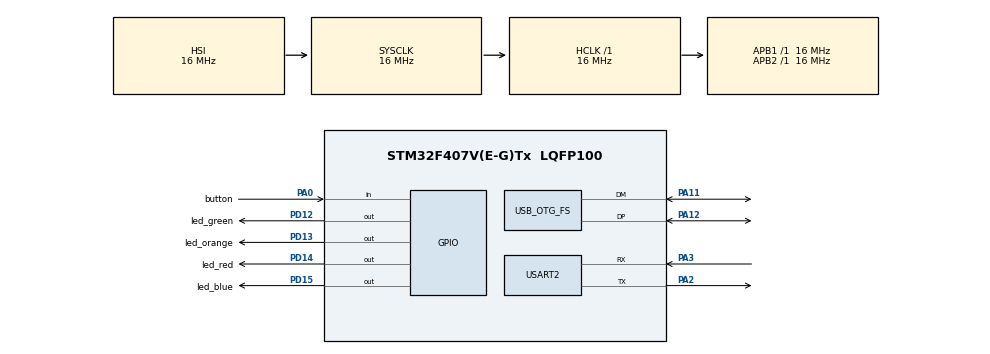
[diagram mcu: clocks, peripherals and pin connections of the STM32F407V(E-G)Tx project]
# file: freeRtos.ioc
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FREERTOS.INCLUDE_vTaskDelayUntil=1
FREERTOS.Tasks01=defaultTask,0,128,StartDefaultTask,Default,NULL,Dynamic,NULL,NULL;uart_handler,1,128,uartHandler,Default,NULL,Dynamic,NULL,NULL
FREERTOS.Timers01=uartTimer,uartTimerCallback,osTimerPeriodic,Default,NULL,Dynamic,NULL
FREERTOS.configUSE_COUNTING_SEMAPHORES=1
FREERTOS.configUSE_IDLE_HOOK=1
FREERTOS.configUSE_NEWLIB_REENTRANT=1
FREERTOS.configUSE_TIMERS=1
Mcu.Family=STM32F4
Mcu.Name=STM32F407V(E-G)Tx
Mcu.Package=LQFP100
NVIC.OTG_FS_IRQn=true\:5\:0\:false\:false\:true\:true\:false\:true
NVIC.PriorityGroup=NVIC_PRIORITYGROUP_4
NVIC.TIM1_UP_TIM10_IRQn=true\:15\:0\:false\:false\:true\:false\:false\:true
NVIC.TIM2_IRQn=true\:5\:0\:true\:false\:true\:true\:true\:true
NVIC.TimeBase=TIM1_UP_TIM10_IRQn
NVIC.TimeBaseIP=TIM1
NVIC.USART2_IRQn=true\:5\:0\:false\:false\:true\:true\:true\:true
PA0-WKUP.GPIO_Label=button
PA0-WKUP.GPIO_PuPd=GPIO_PULLDOWN
PA0-WKUP.Signal=GPIO_Input
PA11.Mode=Device_Only
PA11.Signal=USB_OTG_FS_DM
PA12.Mode=Device_Only
PA12.Signal=USB_OTG_FS_DP
PA13.Mode=Trace_Asynchronous_SW
PA13.Signal=SYS_JTMS-SWDIO
PA14.Mode=Trace_Asynchronous_SW
PA14.Signal=SYS_JTCK-SWCLK
PA2.Mode=Asynchronous
PA2.Signal=USART2_TX
PA3.Mode=Asynchronous
PA3.Signal=USART2_RX
PB3.Mode=Trace_Asynchronous_SW
PB3.Signal=SYS_JTDO-SWO
PD12.GPIO_Label=led_green
PD12.GPIO_PuPd=GPIO_PULLDOWN
PD12.Signal=GPIO_Output
PD13.GPIO_Label=led_orange
PD13.GPIO_PuPd=GPIO_PULLDOWN
PD13.Signal=GPIO_Output
PD14.GPIO_Label=led_red
PD14.GPIO_PuPd=GPIO_PULLDOWN
PD14.Signal=GPIO_Output
PD15.GPIO_Label=led_blue
PD15.GPIO_PuPd=GPIO_PULLDOWN
PD15.Signal=GPIO_Output
PH0-OSC_IN.Mode=HSE-External-Oscillator
PH0-OSC_IN.Signal=RCC_OSC_IN
PH1-OSC_OUT.Mode=HSE-External-Oscillator
PH1-OSC_OUT.Signal=RCC_OSC_OUT
ProjectManager.HeapSize=0x200
ProjectManager.StackSize=0x400
ProjectManager.TargetToolchain=STM32CubeIDE
RCC.48MHZClocksFreq_Value=48000000
RCC.AHBFreq_Value=16000000
RCC.APB1Freq_Value=16000000
RCC.APB1TimFreq_Value=16000000
RCC.APB2Freq_Value=16000000
RCC.CortexFreq_Value=16000000
RCC.HSE_VALUE=25000000
RCC.HSI_VALUE=16000000
RCC.LSE_VALUE=32768
RCC.PLLM=15
RCC.PLLN=144
RCC.PLLQ=5
RCC.SYSCLKFreq_VALUE=16000000
RCC.VCOOutputFreq_Value=240000000
TIM2.Period=4999
TIM2.Prescaler=159
USART2.VirtualMode=VM_ASYNC
USB_DEVICE.APP_RX_DATA_SIZE-CDC_FS=512
USB_DEVICE.APP_TX_DATA_SIZE-CDC_FS=512
USB_DEVICE.CLASS_NAME_FS=CDC
USB_DEVICE.MANUFACTURER_STRING-CDC_FS=T-devices
USB_DEVICE.VirtualMode-CDC_FS=Cdc
USB_DEVICE.VirtualModeFS=Cdc_FS
USB_OTG_FS.VirtualMode=Device_Only
VP_FREERTOS_VS_CMSIS_V1.Mode=CMSIS_V1
VP_SYS_VS_tim1.Mode=TIM1
VP_TIM2_VS_ClockSourceINT.Mode=Internal
VP_USB_DEVICE_VS_USB_DEVICE_CDC_FS.Mode=CDC_FS
board=custom

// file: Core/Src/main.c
/* USER CODE BEGIN Header */
/**
  ******************************************************************************
  * @file           : main.c
  * @brief          : Main program body
  ******************************************************************************
  * @attention
  *
  * Copyright (c) 2021 STMicroelectronics.
  * All rights reserved.
  *
  * This software is licensed under terms that can be found in the LICENSE file
  * in the root directory of this software component.
  * If no LICENSE file comes with this software, it is provided AS-IS.
  *
  ******************************************************************************
  */
/* USER CODE END Header */
#include "main.h"
#include "cmsis_os.h"
#include "tim.h"
#include "usart.h"
#include "usb_device.h"
#include "gpio.h"

/* USER CODE BEGIN Includes */
#include "led.h"
/* USER CODE END Includes */

/* USER CODE BEGIN PTD */
volatile char sim;
xUART_buf xInBuf;
uint8_t testUartBuf[15];
/* USER CODE END PTD */

/* USER CODE BEGIN PV */
led_parameters xLedRed;
led_parameters xLedGreen;
led_parameters xLedBlue;
led_parameters xLedOrange;
xSemaphoreHandle xCountingButtonSemaphore;
xSemaphoreHandle xCountingUARTReceiveMsgSemaphore;
xQueueHandle xQueueUARTMsg;
extern osTimerId uartTimerHandle;
/* USER CODE END PV */

void SystemClock_Config(void);
void MX_FREERTOS_Init(void);

int main(void)
{

  /* MCU Configuration--------------------------------------------------------*/

  /* Reset of all peripherals, Initializes the Flash interface and the Systick. */
  HAL_Init();

  /* USER CODE BEGIN Init */
	xLedRed.port = led_red_GPIO_Port;
	xLedRed.pin = led_red_Pin;
	xLedRed.count = 0;
	xLedRed.period = 2000;

	xLedGreen.port = led_green_GPIO_Port;
	xLedGreen.pin = led_green_Pin;
	xLedGreen.count = 0;
	xLedGreen.period = 2000;

	xLedBlue.port = led_blue_GPIO_Port;
	xLedBlue.pin = led_blue_Pin;
	xLedBlue.count = 0;
	xLedBlue.period = 2000;

	xLedOrange.port = led_orange_GPIO_Port;
	xLedOrange.pin = led_orange_Pin;
	xLedOrange.count = 0;
	xLedOrange.period = 2000;

	xInBuf.cnt = 0;
  /* USER CODE END Init */

  /* Configure the system clock */
  SystemClock_Config();

  /* Initialize all configured peripherals */
  MX_GPIO_Init();
  MX_TIM2_Init();
  MX_USART2_UART_Init();
  /* USER CODE BEGIN 2 */
  HAL_UART_Receive_IT(&huart2, (uint8_t*)&sim, 1);
  /* USER CODE END 2 */

  /* Call init function for freertos objects (in freertos.c) */
  MX_FREERTOS_Init();
  /* Start scheduler */
  osKernelStart();

  /* We should never get here as control is now taken by the scheduler */
  /* Infinite loop */
  while (1)
  {

  }
}

void SystemClock_Config(void)
{
  RCC_OscInitTypeDef RCC_OscInitStruct = {0};
  RCC_ClkInitTypeDef RCC_ClkInitStruct = {0};

  /** Configure the main internal regulator output voltage
  */
  __HAL_RCC_PWR_CLK_ENABLE();
  __HAL_PWR_VOLTAGESCALING_CONFIG(PWR_REGULATOR_VOLTAGE_SCALE1);
  /** Initializes the RCC Oscillators according to the specified parameters
  * in the RCC_OscInitTypeDef structure.
  */
  RCC_OscInitStruct.OscillatorType = RCC_OSCILLATORTYPE_HSI|RCC_OSCILLATORTYPE_HSE;
  RCC_OscInitStruct.HSEState = RCC_HSE_ON;
  RCC_OscInitStruct.HSIState = RCC_HSI_ON;
  RCC_OscInitStruct.HSICalibrationValue = RCC_HSICALIBRATION_DEFAULT;
  RCC_OscInitStruct.PLL.PLLState = RCC_PLL_ON;
  RCC_OscInitStruct.PLL.PLLSource = RCC_PLLSOURCE_HSE;
  RCC_OscInitStruct.PLL.PLLM = 15;
  RCC_OscInitStruct.PLL.PLLN = 144;
  RCC_OscInitStruct.PLL.PLLP = RCC_PLLP_DIV2;
  RCC_OscInitStruct.PLL.PLLQ = 5;
  if (HAL_RCC_OscConfig(&RCC_OscInitStruct) != HAL_OK)
  {
    Error_Handler();
  }
  /** Initializes the CPU, AHB and APB buses clocks
  */
  RCC_ClkInitStruct.ClockType = RCC_CLOCKTYPE_HCLK|RCC_CLOCKTYPE_SYSCLK
                              |RCC_CLOCKTYPE_PCLK1|RCC_CLOCKTYPE_PCLK2;
  RCC_ClkInitStruct.SYSCLKSource = RCC_SYSCLKSOURCE_HSI;
  RCC_ClkInitStruct.AHBCLKDivider = RCC_SYSCLK_DIV1;
  RCC_ClkInitStruct.APB1CLKDivider = RCC_HCLK_DIV1;
  RCC_ClkInitStruct.APB2CLKDivider = RCC_HCLK_DIV1;

  if (HAL_RCC_ClockConfig(&RCC_ClkInitStruct, FLASH_LATENCY_0) != HAL_OK)
  {
    Error_Handler();
  }
}

/* USER CODE BEGIN 4 */
void HAL_UART_RxCpltCallback(UART_HandleTypeDef *huart) {
	if(huart == &huart2) {
		xInBuf.input_buffer[xInBuf.cnt++] = sim;
		HAL_UART_Receive_IT(&huart2, (uint8_t*)&sim, 1);
		osTimerStart(uartTimerHandle, 50);
		//xTimerResetFromISR(uartTimerHandle, 50/portTICK_RATE_MS);
	}
}
/* USER CODE END 4 */

void HAL_TIM_PeriodElapsedCallback(TIM_HandleTypeDef *htim)
{
  if (htim->Instance == TIM1) {
    HAL_IncTick();
  }
  /* USER CODE BEGIN Callback 1 */
  if (htim->Instance == TIM2) {
  }
  /* USER CODE END Callback 1 */
}

void Error_Handler(void)
{
  __disable_irq();
  while (1)
  {
  }
}

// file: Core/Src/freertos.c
/* USER CODE BEGIN Header */
/**
  ******************************************************************************
  * File Name          : freertos.c
  * Description        : Code for freertos applications
  ******************************************************************************
  * @attention
  *
  * Copyright (c) 2021 STMicroelectronics.
  * All rights reserved.
  *
  * This software is licensed under terms that can be found in the LICENSE file
  * in the root directory of this software component.
  * If no LICENSE file comes with this software, it is provided AS-IS.
  *
  ******************************************************************************
  */
/* USER CODE END Header */

#include "FreeRTOS.h"
#include "task.h"
#include "main.h"
#include "cmsis_os.h"

/* USER CODE BEGIN Includes */
#include "stdbool.h"
#include "led.h"
/* USER CODE END Includes */

/* USER CODE BEGIN PD */
#define NUM_OF_MSG_FROM_UART	5
/* USER CODE END PD */

/* USER CODE BEGIN Variables */
extern UART_HandleTypeDef huart2;

extern led_parameters xLedRed;
extern led_parameters xLedGreen;
extern led_parameters xLedBlue;
extern led_parameters xLedOrange;
extern xSemaphoreHandle xCountingButtonSemaphore;
extern xSemaphoreHandle xCountingUARTReceiveMsgSemaphore;
extern xQueueHandle xQueueUARTMsg;
extern xUART_buf xInBuf;
/* USER CODE END Variables */
osThreadId defaultTaskHandle;
osThreadId uart_handlerHandle;
osTimerId uartTimerHandle;

/* USER CODE BEGIN FunctionPrototypes */
void blinkLedHandle(void *argument);
void ledTask(void *argument);
void buttonHandle(void *arg);
/* USER CODE END FunctionPrototypes */

void StartDefaultTask(void const * argument);
void uartHandler(void const * argument);
void uartTimerCallback(void const * argument);

extern void MX_USB_DEVICE_Init(void);
void MX_FREERTOS_Init(void); /* (MISRA C 2004 rule 8.1) */

/* GetIdleTaskMemory prototype (linked to static allocation support) */
void vApplicationGetIdleTaskMemory( StaticTask_t **ppxIdleTaskTCBBuffer, StackType_t **ppxIdleTaskStackBuffer, uint32_t *pulIdleTaskStackSize );

/* GetTimerTaskMemory prototype (linked to static allocation support) */
void vApplicationGetTimerTaskMemory( StaticTask_t **ppxTimerTaskTCBBuffer, StackType_t **ppxTimerTaskStackBuffer, uint32_t *pulTimerTaskStackSize );

/* Hook prototypes */
void vApplicationIdleHook(void);

/* USER CODE BEGIN 2 */
__weak void vApplicationIdleHook( void )
{
   /* vApplicationIdleHook() will only be called if configUSE_IDLE_HOOK is set
   to 1 in FreeRTOSConfig.h. It will be called on each iteration of the idle
   task. It is essential that code added to this hook function never attempts
   to block in any way (for example, call xQueueReceive() with a block time
   specified, or call vTaskDelay()). If the application makes use of the
   vTaskDelete() API function (as this demo application does) then it is also
   important that vApplicationIdleHook() is permitted to return to its calling
   function, because it is the responsibility of the idle task to clean up
   memory allocated by the kernel to any task that has since been deleted. */
}
/* USER CODE END 2 */

/* USER CODE BEGIN GET_IDLE_TASK_MEMORY */
static StaticTask_t xIdleTaskTCBBuffer;
static StackType_t xIdleStack[configMINIMAL_STACK_SIZE];

void vApplicationGetIdleTaskMemory( StaticTask_t **ppxIdleTaskTCBBuffer, StackType_t **ppxIdleTaskStackBuffer, uint32_t *pulIdleTaskStackSize )
{
  *ppxIdleTaskTCBBuffer = &xIdleTaskTCBBuffer;
  *ppxIdleTaskStackBuffer = &xIdleStack[0];
  *pulIdleTaskStackSize = configMINIMAL_STACK_SIZE;
  /* place for user code */
}
/* USER CODE END GET_IDLE_TASK_MEMORY */

/* USER CODE BEGIN GET_TIMER_TASK_MEMORY */
static StaticTask_t xTimerTaskTCBBuffer;
static StackType_t xTimerStack[configTIMER_TASK_STACK_DEPTH];

void vApplicationGetTimerTaskMemory( StaticTask_t **ppxTimerTaskTCBBuffer, StackType_t **ppxTimerTaskStackBuffer, uint32_t *pulTimerTaskStackSize )
{
  *ppxTimerTaskTCBBuffer = &xTimerTaskTCBBuffer;
  *ppxTimerTaskStackBuffer = &xTimerStack[0];
  *pulTimerTaskStackSize = configTIMER_TASK_STACK_DEPTH;
  /* place for user code */
}
/* USER CODE END GET_TIMER_TASK_MEMORY */

void MX_FREERTOS_Init(void) {

  /* USER CODE BEGIN RTOS_SEMAPHORES */
  /* add semaphores, ... */
	xCountingButtonSemaphore = xSemaphoreCreateCounting(4,0);
	xCountingUARTReceiveMsgSemaphore = xSemaphoreCreateCounting(5, 0);
	xQueueUARTMsg = xQueueCreate(NUM_OF_MSG_FROM_UART, sizeof(xUART_buf));
  /* USER CODE END RTOS_SEMAPHORES */

  /* Create the timer(s) */
  /* definition and creation of uartTimer */
  osTimerDef(uartTimer, uartTimerCallback);
  uartTimerHandle = osTimerCreate(osTimer(uartTimer), osTimerOnce, NULL);

  /* Create the thread(s) */
  /* definition and creation of defaultTask */
  osThreadDef(defaultTask, StartDefaultTask, osPriorityNormal, 0, 128);
  defaultTaskHandle = osThreadCreate(osThread(defaultTask), NULL);

  /* definition and creation of uart_handler */
  osThreadDef(uart_handler, uartHandler, osPriorityNormal, 0, 128);
  uart_handlerHandle = osThreadCreate(osThread(uart_handler), NULL);

  /* USER CODE BEGIN RTOS_THREADS */
  /* add threads, ... */
  //xTaskCreate(blinkLedHandle, (char*)"blinkRed", 128, (void*)&xLedRed, osPriorityNormal, NULL);
  //xTaskCreate(blinkLedHandle, (char*)"blinkGreen", 128, (void*)&xLedGreen, osPriorityNormal, NULL);
  //xTaskCreate(blinkLedHandle, (char*)"blinkBlue", 128, (void*)&xLedBlue, osPriorityNormal, NULL);

  xTaskCreate(ledTask, (char*)"blinkRed", 128, (void*)&xLedRed, osPriorityNormal, NULL);
  xTaskCreate(ledTask, (char*)"blinkGreen", 128, (void*)&xLedGreen, osPriorityNormal, NULL);
  xTaskCreate(ledTask, (char*)"blinkBlue", 128, (void*)&xLedBlue, osPriorityNormal, NULL);
  xTaskCreate(ledTask, (char*)"blinkBlue", 128, (void*)&xLedOrange, osPriorityNormal, NULL);
  xTaskCreate(buttonHandle, (char*)"buttonHandle", 128, NULL, osPriorityNormal, NULL);
  /* USER CODE END RTOS_THREADS */

}

void StartDefaultTask(void const * argument)
{
  /* init code for USB_DEVICE */
  MX_USB_DEVICE_Init();
  for(;;)
  {
    osDelay(1);
  }
}

void uartHandler(void const * argument)
{
  /* USER CODE BEGIN uartHandler */
	xUART_buf xBuf;
  /* Infinite loop */
	while(1) {
	  xSemaphoreTake(xCountingUARTReceiveMsgSemaphore, portMAX_DELAY);
	  xQueueReceive(xQueueUARTMsg, &xBuf, 1/portTICK_RATE_MS);
	  HAL_UART_Transmit(&huart2, (xBuf.input_buffer), xBuf.cnt, HAL_MAX_DELAY);
	  HAL_UART_Transmit(&huart2, (uint8_t*)("\r\n"), 2, HAL_MAX_DELAY);
	}
  /* USER CODE END uartHandler */
}

/* uartTimerCallback function */
void uartTimerCallback(void const * argument)
{
  /* USER CODE BEGIN uartTimerCallback */
	xSemaphoreGive(xCountingUARTReceiveMsgSemaphore);
	xQueueSend(xQueueUARTMsg, &xInBuf, 1/portTICK_RATE_MS);
	xInBuf.cnt = 0;
  /* USER CODE END uartTimerCallback */
}

/* USER CODE BEGIN Application */
void blinkLedHandle(void *pvParameters) {
	volatile led_parameters *xLedParameters;
	xLedParameters = (led_parameters*)pvParameters;
	if (xLedParameters->count == 0) {
		while(1) {
			HAL_GPIO_TogglePin(xLedParameters->port, xLedParameters->pin);
			vTaskDelay((TickType_t)(xLedParameters->period));
		}
	}
	while(1) {
		if ((xLedParameters->count) != 0) {
			(xLedParameters->count)--;
			HAL_GPIO_WritePin(xLedParameters->port, xLedParameters->pin, GPIO_PIN_SET);
			vTaskDelay((TickType_t)(xLedParameters->period));
			HAL_GPIO_WritePin(xLedParameters->port, xLedParameters->pin, GPIO_PIN_RESET);
			vTaskDelay((TickType_t)(xLedParameters->period));
		}
	}
	vTaskDelete(NULL);
}

void ledTask(void *pvParameters) {
	volatile led_parameters *xLedParameters;
	xLedParameters = (led_parameters*)pvParameters;
	while(1) {
		xSemaphoreTake(xCountingButtonSemaphore, portMAX_DELAY);
		HAL_GPIO_WritePin(xLedParameters->port, xLedParameters->pin, GPIO_PIN_SET);
		vTaskDelay((TickType_t)(xLedParameters->period));
		HAL_GPIO_WritePin(xLedParameters->port, xLedParameters->pin, GPIO_PIN_RESET);
	}
	vTaskDelete(NULL);
}

void buttonHandle(void *param) {
	while(1) {
		if (HAL_GPIO_ReadPin(button_GPIO_Port, button_Pin) == GPIO_PIN_SET) {
			vTaskDelay(75);
			if (HAL_GPIO_ReadPin(button_GPIO_Port, button_Pin) == GPIO_PIN_RESET) {
				xSemaphoreGive(xCountingButtonSemaphore);
			}
		}
	}
}
/* USER CODE END Application */
